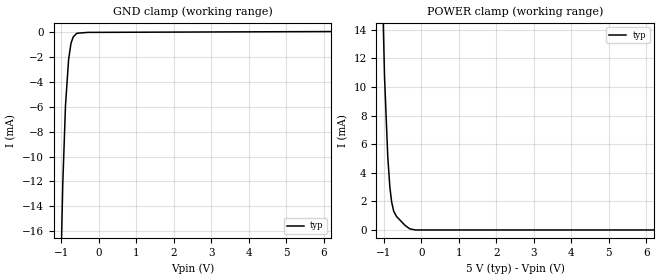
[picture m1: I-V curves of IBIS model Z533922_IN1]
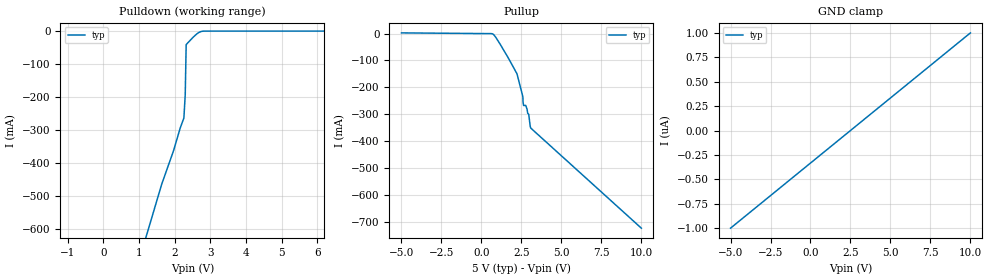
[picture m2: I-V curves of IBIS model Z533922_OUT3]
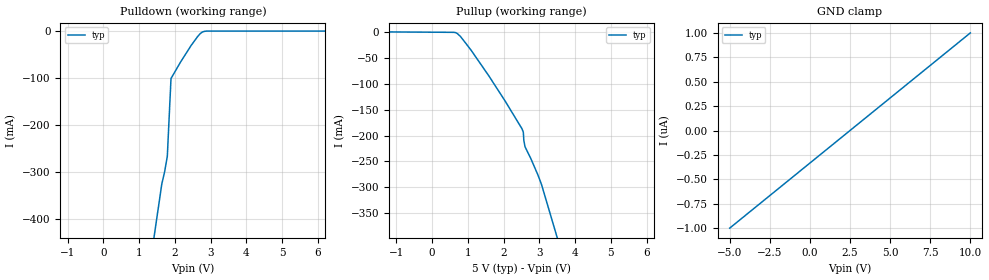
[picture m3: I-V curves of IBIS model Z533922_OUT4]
| YOU ARE ONLY AUTHORIZED TO USE THIS SOFTWARE
| ACCORDING TO LICENSOR'S LICENSE RESTRICTIONS.
[IBIS Ver] 3.1
[File Name] mc10el89d_pecl.ibs
[File Rev] 2.0
[Source] Measured and created by ICX Technology
[Date] Friday 7/14/00 9:07:50 AM
[Copyright]
| (C) COPYRIGHT 1993-2000
| MENTOR GRAPHICS CORPORATION
| ICX STANDARD LIBRARY, ICX PROJECT MODELING,
| ICX CUSTOM MODELING, ICX VENDOR MODEL
| ALL RIGHTS RESERVED.
| THE FOLLOWING ARE TRADEMARKS OR SERVICE MARKS OF
| MENTOR GRAPHICS CORPORATION:ICX (R), ICX STANDARD
| LIBRARY(R), ICX PROJECT MODELING(R), ICX CUSTOM
| MODELING(R), qualityIBIS(TM), MODELVIEWER(TM),
| AND MODELEDITOR(TM)
| ALL COPIES OF SOFTWARE, INCLUDING BUT NOT LIMITED TO
| ANY MODIFICATIONS, ENHANCEMENTS OR DERIVATIVE WORKS,
| MUST CONTAIN ALL MENTOR GRAPHICS CORPORATION'S
| NOTICES AND LEGENDS, INCLUDING THOSE EMBEDDED IN
| SOFTWARE AND THOSE AFFIXED TO SOFTWARE MEDIUM
| AND CONTAINER, AS RECEIVED FROM MENTOR GRAPHICS
| CORPORATION.
|  ZAP Model Builder 2.7
[Component] MC10EL89D_PECL
[Manufacturer] OnSemiconductor
[Package]
| variable   typ   min   max
R_pkg  .152ohms NA NA
L_pkg  2.714nH NA NA
C_pkg  .364pF NA NA
[Pin] signal_name  model_name  R_pin  L_pin C_pin
1 Q0 Z533922_OUT3 .154 2.924n .374p
2 _Q0 Z533922_OUT4 .15 2.504n .354p
3 Q1 Z533922_OUT5 .15 2.504n .354p
4 _Q1 Z533922_OUT6 .154 2.924n .374p
5 VEE POWER .154 2.924n .374p
6 _D Z533922_IN1 .15 2.504n .354p
7 D Z533922_IN2 .15 2.504n .354p
8 VCC POWER .154 2.924n .374p
| Models and submodels in the file (6): Z533922_IN1 (Input), Z533922_IN2 (Input), Z533922_OUT3 (Output), Z533922_OUT4 (Output), Z533922_OUT5 (Output), Z533922_OUT6 (Output)
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| (C) COPYRIGHT 1993-2000
| MENTOR GRAPHICS CORPORATION
| ICX STANDARD LIBRARY, ICX PROJECT MODELING,
| ICX CUSTOM MODELING, ICX VENDOR MODEL
| ALL RIGHTS RESERVED.
| THE FOLLOWING ARE TRADEMARKS OR SERVICE MARKS OF
| MENTOR GRAPHICS CORPORATION:ICX (R), ICX STANDARD
| LIBRARY(R), ICX PROJECT MODELING(R), ICX CUSTOM
| MODELING(R), qualityIBIS(TM), MODELVIEWER(TM),
| AND MODELEDITOR(TM)
| ALL COPIES OF SOFTWARE, INCLUDING BUT NOT LIMITED TO
| ANY MODIFICATIONS, ENHANCEMENTS OR DERIVATIVE WORKS,
| MUST CONTAIN ALL MENTOR GRAPHICS CORPORATION'S
| NOTICES AND LEGENDS, INCLUDING THOSE EMBEDDED IN
| SOFTWARE AND THOSE AFFIXED TO SOFTWARE MEDIUM
| AND CONTAINER, AS RECEIVED FROM MENTOR GRAPHICS
| CORPORATION.
| Model Application Version 1.89 2/18/99.
[Model] Z533922_IN1
Model_type Input
Vinl = 2.700V
Vinh = 3.700V
C_comp 4.000pF NA NA
| variable typ   min   max
[Voltage Range] 5.000V NA NA
[GND Clamp Reference] 0.000V NA NA
[POWER Clamp Reference] 5.000V NA NA
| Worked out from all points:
|   GND clamp passes 1 mA (typ) near -0.75 V on its own axis
|   POWER clamp passes 1 mA (typ) near -0.67 V on its own axis
[GND Clamp]
-5V       -563.8mA   NA         NA
-961.6mV  -12.23mA   NA         NA
-888.7mV  -5.901mA   NA         NA
-805.7mV  -2.188mA   NA         NA
-741.7mV  -888.4uA   NA         NA
-683.1mV  -386.7uA   NA         NA
-586.7mV  -87.81uA   NA         NA
-293.4mV  -18.35uA   NA         NA
10V       90.15uA    NA         NA
[POWER Clamp]
-5V       455.3mA    NA         NA
-981mV    10.7mA     NA         NA
-895mV    5.142mA    NA         NA
-840mV    3.03mA     NA         NA
-791mV    1.952mA    NA         NA
-736mV    1.307mA    NA         NA
-660mV    939.4uA    NA         NA
-430mV    313.3uA    NA         NA
-309mV    79.1uA     NA         NA
-154.5mV  0A         NA         NA
10V       0A         NA         NA
| (C) COPYRIGHT 1993-2000
| MENTOR GRAPHICS CORPORATION
| ICX STANDARD LIBRARY, ICX PROJECT MODELING,
| ICX CUSTOM MODELING, ICX VENDOR MODEL
| ALL RIGHTS RESERVED.
| THE FOLLOWING ARE TRADEMARKS OR SERVICE MARKS OF
| MENTOR GRAPHICS CORPORATION:ICX (R), ICX STANDARD
| LIBRARY(R), ICX PROJECT MODELING(R), ICX CUSTOM
| MODELING(R), qualityIBIS(TM), MODELVIEWER(TM),
| AND MODELEDITOR(TM)
| ALL COPIES OF SOFTWARE, INCLUDING BUT NOT LIMITED TO
| ANY MODIFICATIONS, ENHANCEMENTS OR DERIVATIVE WORKS,
| MUST CONTAIN ALL MENTOR GRAPHICS CORPORATION'S
| NOTICES AND LEGENDS, INCLUDING THOSE EMBEDDED IN
| SOFTWARE AND THOSE AFFIXED TO SOFTWARE MEDIUM
| AND CONTAINER, AS RECEIVED FROM MENTOR GRAPHICS
| CORPORATION.
| Model Application Version 1.89 2/18/99.
[Model] Z533922_OUT3
Model_type Output
Vref=2.700V
Rref=300.0ohms
Cref=0.000F
Vmeas=3.200V
C_comp 8.000pF NA NA
| variable typ   min   max
[Voltage Range] 5.000V NA NA
[POWER Clamp Reference] 5.000V NA NA
[Pullup Reference] 5.000V NA NA
[Pulldown Reference] 0.000V NA NA
[GND Clamp Reference] 0.000V NA NA
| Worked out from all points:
|   slope of the pulldown table from 0 to 0.75 V, typ, clamps not added: 2.75 ohm
|   slope of the pullup table from 0 to 0.75 V, typ, clamps not added: 227 ohm
[GND Clamp]
-5V       -1uA       NA         NA
10V       1uA        NA         NA
[Pulldown]
-5V       -2.883A    NA         NA
1.641V    -463.9mA   NA         NA
1.973V    -362.2mA   NA         NA
2.158V    -294.1mA   NA         NA
2.262V    -263.4mA   NA         NA
2.3V      -191.8mA   NA         NA
2.326V    -40.69mA   NA         NA
2.627V    -8.062mA   NA         NA
2.742V    -1.118mA   NA         NA
10V       254.9uA    NA         NA
[Pullup]
-5V       2.645mA    NA         NA
762mV     -3.614mA   NA         NA
2.222V    -149.5mA   NA         NA
2.592V    -235.2mA   NA         NA
2.601V    -254.2mA   NA         NA
2.635V    -267.4mA   NA         NA
2.773V    -267.4mA   NA         NA
2.894V    -296.7mA   NA         NA
2.959V    -300.9mA   NA         NA
3.047V    -343.6mA   NA         NA
3.079V    -351.2mA   NA         NA
10V       -723.9mA   NA         NA
[POWER Clamp]
-5V       0A         NA         NA
10V       0A         NA         NA
[Ramp]
| variable typ min max
dV/dt_r 906.1m/1.976n NA NA
dV/dt_f 906.1m/1.494n NA NA
R_load = 500.0Ohms
| (C) COPYRIGHT 1993-2000
| MENTOR GRAPHICS CORPORATION
| ICX STANDARD LIBRARY, ICX PROJECT MODELING,
| ICX CUSTOM MODELING, ICX VENDOR MODEL
| ALL RIGHTS RESERVED.
| THE FOLLOWING ARE TRADEMARKS OR SERVICE MARKS OF
| MENTOR GRAPHICS CORPORATION:ICX (R), ICX STANDARD
| LIBRARY(R), ICX PROJECT MODELING(R), ICX CUSTOM
| MODELING(R), qualityIBIS(TM), MODELVIEWER(TM),
| AND MODELEDITOR(TM)
| ALL COPIES OF SOFTWARE, INCLUDING BUT NOT LIMITED TO
| ANY MODIFICATIONS, ENHANCEMENTS OR DERIVATIVE WORKS,
| MUST CONTAIN ALL MENTOR GRAPHICS CORPORATION'S
| NOTICES AND LEGENDS, INCLUDING THOSE EMBEDDED IN
| SOFTWARE AND THOSE AFFIXED TO SOFTWARE MEDIUM
| AND CONTAINER, AS RECEIVED FROM MENTOR GRAPHICS
| CORPORATION.
| Model Application Version 1.89 2/18/99.
[Model] Z533922_OUT4
Model_type Output
Vref=2.700V
Rref=300.0ohms
Cref=0.000F
Vmeas=3.200V
C_comp 8.000pF NA NA
| variable typ   min   max
[Voltage Range] 5.000V NA NA
[POWER Clamp Reference] 5.000V NA NA
[Pullup Reference] 5.000V NA NA
[Pulldown Reference] 0.000V NA NA
[GND Clamp Reference] 0.000V NA NA
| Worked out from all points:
|   slope of the pulldown table from 0 to 0.75 V, typ, clamps not added: 1.91 ohm
|   slope of the pullup table from 0 to 0.75 V, typ, clamps not added: 142 ohm
[GND Clamp]
-5V       -1uA       NA         NA
10V       1uA        NA         NA
[Pulldown]
-5V       -3.795A    NA         NA
1.632V    -325.7mA   NA         NA
1.709V    -300.4mA   NA         NA
1.787V    -266.5mA   NA         NA
1.89V     -100.8mA   NA         NA
2.153V    -66.21mA   NA         NA
2.451V    -30.57mA   NA         NA
2.632V    -11.62mA   NA         NA
2.763V    -1.942mA   NA         NA
2.9V      222.7uA    NA         NA
10V       256uA      NA         NA
[Pullup]
-5V       2.451mA    NA         NA
662mV     -681.1uA   NA         NA
796mV     -7.939mA   NA         NA
1.089V    -34.19mA   NA         NA
1.592V    -84.58mA   NA         NA
2.519V    -187mA     NA         NA
2.553V    -193.3mA   NA         NA
2.568V    -209.7mA   NA         NA
2.602V    -221.7mA   NA         NA
2.759V    -243.7mA   NA         NA
3.061V    -294.3mA   NA         NA
10V       -1.921A    NA         NA
[POWER Clamp]
-5V       0A         NA         NA
10V       0A         NA         NA
[Ramp]
| variable typ min max
dV/dt_r 897.3m/1.889n NA NA
dV/dt_f 897.3m/1.503n NA NA
R_load = 500.0Ohms
